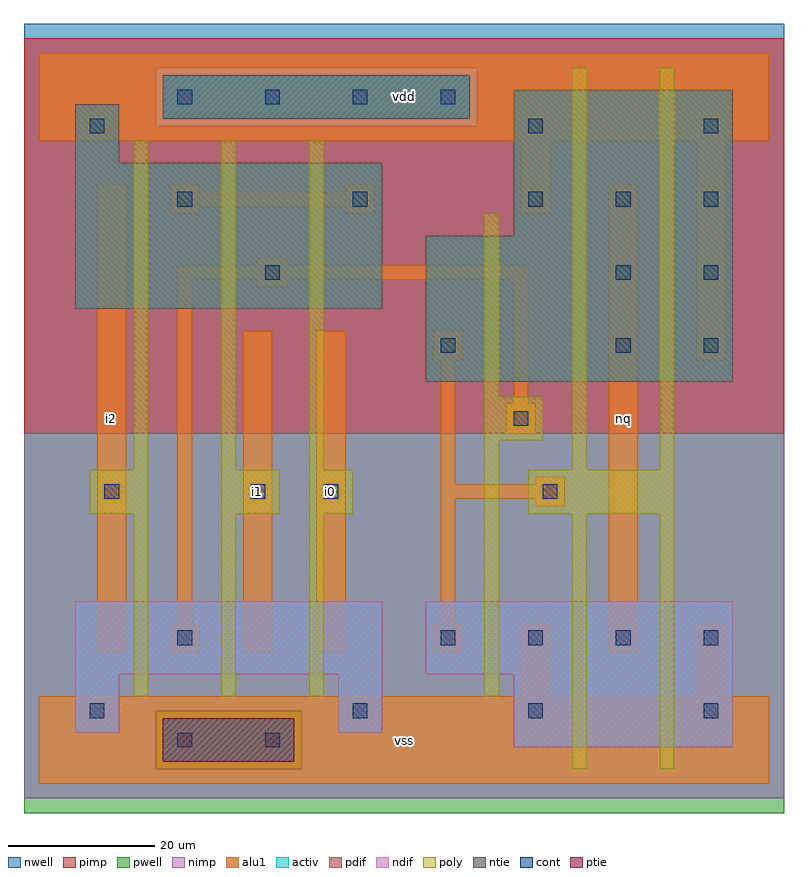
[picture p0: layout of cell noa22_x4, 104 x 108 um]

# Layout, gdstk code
import gdstk
lib = gdstk.Library(unit=1e-6, precision=1e-09)
def R(c, l, rs):  # rectangles x0, y0, x1, y1
    for r in rs: c.add(gdstk.rectangle(r[:2], r[2:], *l))
def A(c, l, x, y, w, h, nx, ny, dx, dy):  # array of equal rectangles
    R(c, l, [(x+i*dx, y+j*dy, x+i*dx+w, y+j*dy+h) for i in range(nx) for j in range(ny)])
ndif = (3, 0)
pdif = (4, 0)
ntie = (5, 0)
ptie = (6, 0)
cont = (25, 0)
pwell = (41, 0)
nwell = (42, 0)
activ = (43, 0)
pimp = (44, 0)
nimp = (45, 0)
poly = (46, 0)
alu1 = (49, 0)

noa22_x4 = lib.new_cell('noa22_x4')
R(noa22_x4, ndif, [(65,5,95,15), (5,7,11,15), (41,7,47,15), (5,15,47,25), (53,15,95,25)])
R(noa22_x4, pdif, [(53,55,95,75), (5,65,47,85), (65,75,95,95), (5,85,11,93)])
R(noa22_x4, ntie, [(17,91,59,97)])
R(noa22_x4, ptie, [(17,3,35,9)])
A(noa22_x4, cont, 43, 9, 2, 2, 3, 1, 24, 0)
A(noa22_x4, cont, 55, 19, 2, 2, 4, 1, 12, 0)
A(noa22_x4, cont, 79, 59, 2, 2, 1, 3, 0, 10)
A(noa22_x4, cont, 91, 59, 2, 2, 1, 4, 0, 10)
A(noa22_x4, cont, 19, 79, 2, 2, 3, 1, 24, 0)
A(noa22_x4, cont, 19, 93, 2, 2, 4, 1, 12, 0)
R(noa22_x4, cont, [(19,5,21,7), (31,5,33,7), (7,9,9,11), (19,19,21,21), (9,39,11,41), (29,39,31,41), (39,39,41,41), (69,39,71,41), (65,49,67,51), (55,59,57,61), (31,69,33,71), (7,89,9,91), (67,89,69,91)])
R(noa22_x4, pwell, [(-2,-4,102,48)])
R(noa22_x4, nwell, [(-2,48,102,104)])
R(noa22_x4, activ, [(17,3,35,9), (65,5,95,15), (5,7,11,15), (41,7,47,15), (5,15,47,25), (53,15,95,25), (53,55,95,75), (5,65,47,85), (65,75,95,95), (5,85,11,93), (17,91,59,97)])
R(noa22_x4, pimp, [(16,2,36,10), (-2,48,102,90), (-2,90,16,98), (60,90,102,98), (-2,98,102,102)])
R(noa22_x4, nimp, [(-2,-2,102,2), (-2,2,16,10), (36,2,102,10), (-2,10,102,48), (16,90,60,98)])
A(noa22_x4, poly, 13, 12, 2, 25, 3, 1, 12, 0)
A(noa22_x4, poly, 13, 43, 2, 45, 3, 1, 12, 0)
R(noa22_x4, poly, [(73,2,75,37), (85,2,87,37), (61,12,63,47), (7,37,15,43), (25,37,33,43), (37,37,43,43), (67,37,87,43), (73,43,75,98), (85,43,87,98), (61,47,69,53), (61,53,63,78)])
R(noa22_x4, alu1, [(0,0,100,12), (66,12,70,22), (90,12,94,22), (8,18,12,82), (18,18,22,22), (28,18,32,62), (38,18,42,62), (54,18,58,22), (78,18,82,82), (19,22,21,69), (55,22,57,39), (68,38,72,39), (55,39,72,41), (55,41,57,58), (68,41,72,42), (64,48,68,52), (65,52,67,69), (54,58,58,62), (90,58,94,88), (30,68,34,69), (19,69,67,71), (30,71,34,72), (18,78,22,79), (42,78,46,79), (66,78,70,88), (18,79,46,81), (18,81,22,82), (42,81,46,82), (0,88,100,100)])
noa22_x4.add(gdstk.Label('i2', (10,50), layer=49, texttype=0))
noa22_x4.add(gdstk.Label('i0', (40,40), layer=49, texttype=0))
noa22_x4.add(gdstk.Label('i1', (30,40), layer=49, texttype=0))
noa22_x4.add(gdstk.Label('vss', (50,6), layer=49, texttype=0))
noa22_x4.add(gdstk.Label('vdd', (50,94), layer=49, texttype=0))
noa22_x4.add(gdstk.Label('nq', (80,50), layer=49, texttype=0))

lib.write_gds('noa22_x4.gds')
